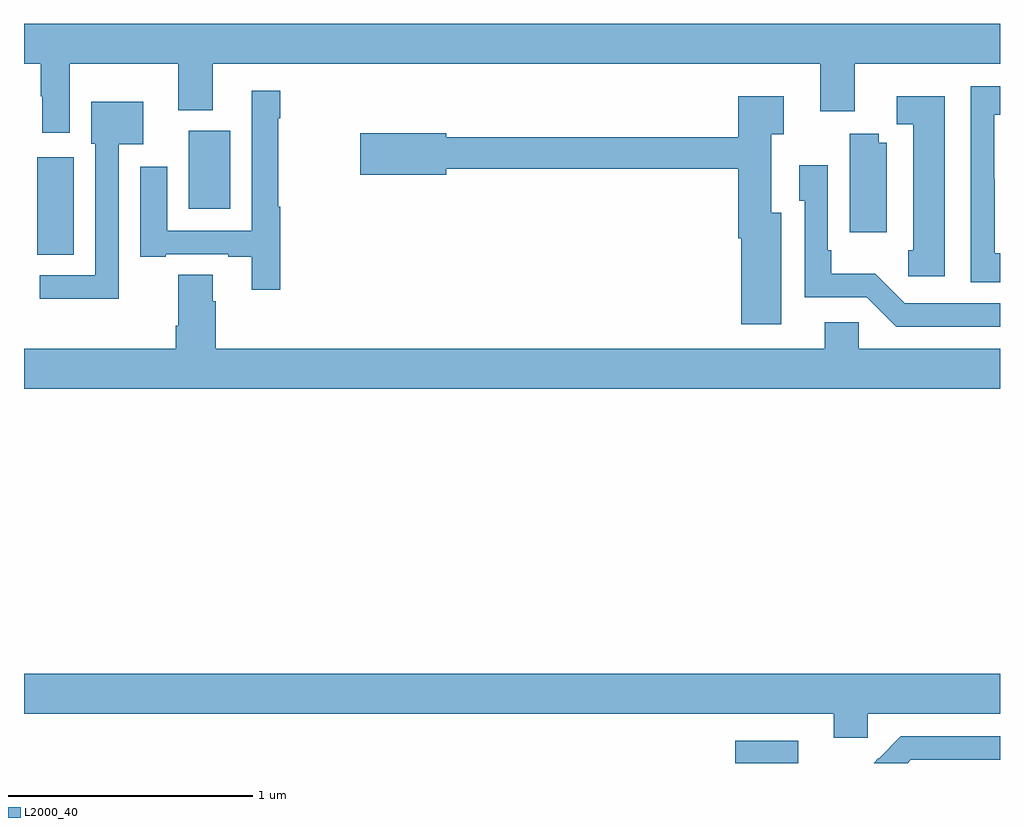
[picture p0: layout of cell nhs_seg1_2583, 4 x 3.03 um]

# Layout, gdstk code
import gdstk
lib = gdstk.Library(unit=1e-6, precision=1e-09)
def R(c, l, rs):  # rectangles x0, y0, x1, y1
    for r in rs: c.add(gdstk.rectangle(r[:2], r[2:], *l))
def P(c, l, *ps):  # polygons
    for p in ps: c.add(gdstk.Polygon(p, *l))
L2000_40 = (2000, 40)

nhs_seg1_2583 = lib.new_cell('nhs_seg1_2583')
R(nhs_seg1_2583, L2000_40, [(253.915,550.199,254.173,550.29), (251.054,552.283,251.203,552.682), (251.675,552.47,251.845,552.79)])
P(nhs_seg1_2583, L2000_40, [(251.188,553.064),(251.633,553.064),(251.633,552.875),(251.773,552.875),(251.773,553.064),(254.264,553.064),(254.264,552.87),(254.404,552.87),(254.404,553.064),(255,553.064),(255,553.228),(251,553.228),(251,553.064),(251.068,553.064),(251.068,552.932),(251.075,552.932),(251.075,552.783),(251.188,552.783)],
  [(255,552.289),(254.979,552.289),(254.979,552.593),(254.977,552.593),(254.977,552.856),(255,552.856),(255,552.972),(254.88,552.972),(254.88,552.169),(255,552.169)],
  [(252.05,552.478),(252.043,552.478),(252.043,552.842),(252.05,552.842),(252.05,552.955),(251.934,552.955),(251.934,552.381),(251.587,552.381),(251.587,552.643),(251.477,552.643),(251.477,552.273),(251.581,552.273),(251.581,552.285),(251.837,552.285),(251.837,552.273),(251.933,552.273),(251.933,552.138),(252.05,552.138)],
  [(254.773,552.931),(254.577,552.931),(254.577,552.816),(254.645,552.816),(254.645,552.3),(254.623,552.3),(254.623,552.195),(254.773,552.195)],
  [(254.104,552.454),(254.062,552.454),(254.062,552.775),(254.113,552.775),(254.113,552.931),(253.928,552.931),(253.928,552.763),(252.73,552.763),(252.73,552.781),(252.378,552.781),(252.378,552.611),(252.73,552.611),(252.73,552.634),(253.928,552.634),(253.928,552.35),(253.94,552.35),(253.94,551.997),(254.104,551.997)],
  [(251.388,552.734),(251.488,552.734),(251.488,552.91),(251.276,552.91),(251.276,552.738),(251.292,552.738),(251.292,552.198),(251.064,552.198),(251.064,552.101),(251.388,552.101)],
  [(254.536,552.742),(254.504,552.742),(254.504,552.779),(254.384,552.779),(254.384,552.375),(254.536,552.375)],
  [(255,552.084),(254.61,552.084),(254.489,552.205),(254.308,552.205),(254.308,552.301),(254.295,552.301),(254.295,552.649),(254.178,552.649),(254.178,552.504),(254.199,552.504),(254.199,552.108),(254.454,552.108),(254.574,551.988),(255,551.988)],
  [(255,551.896),(254.421,551.896),(254.421,552.006),(254.282,552.006),(254.282,551.896),(251.786,551.896),(251.786,552.092),(251.773,552.092),(251.773,552.2),(251.633,552.2),(251.633,551.992),(251.621,551.992),(251.621,551.896),(251,551.896),(251,551.732),(255,551.732)],
  [(254.457,550.4),(255,550.4),(255,550.564),(251,550.564),(251,550.4),(254.318,550.4),(254.318,550.302),(254.457,550.302)],
  [(254.634,550.212),(255,550.212),(255,550.308),(254.594,550.308),(254.503,550.217),(254.502,550.218),(254.483,550.199),(254.621,550.199)])

lib.write_gds('nhs_seg1_2583.gds')
